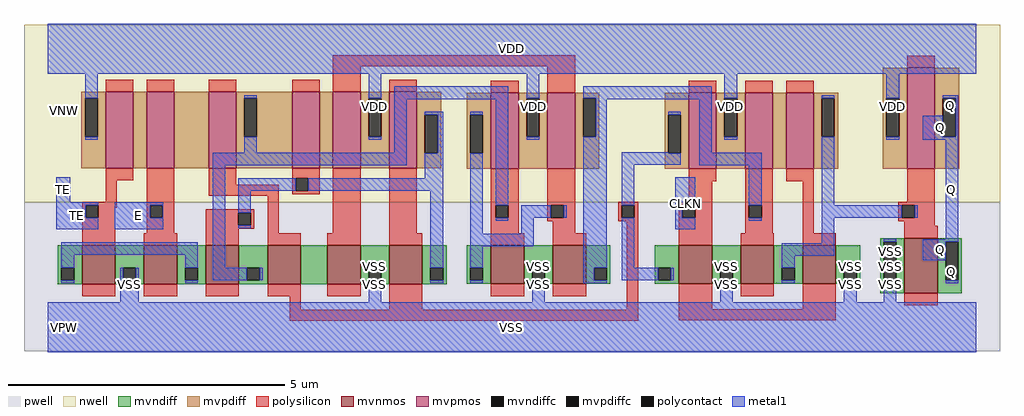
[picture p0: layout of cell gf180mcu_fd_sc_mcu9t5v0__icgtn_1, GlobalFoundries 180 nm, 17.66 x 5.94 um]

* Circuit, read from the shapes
.subckt gf180mcu_fd_sc_mcu9t5v0__icgtn_1 CLKN E TE Q VDD VNW VPW VSS
XM1 VSS TE n1 VPW nfet_06v0 w=0.7u l=0.6u
XM2 n1 E VSS VPW nfet_06v0 w=0.7u l=0.6u
XM3 n2 n3 n1 VPW nfet_06v0 w=0.7u l=0.6u
XM4 n4 n5 n2 VPW nfet_06v0 w=0.7u l=0.6u
XM5 VSS n6 n4 VPW nfet_06v0 w=0.7u l=0.6u
XM6 n3 n5 VSS VPW nfet_06v0 w=0.7u l=0.6u
XM7 VSS n2 n6 VPW nfet_06v0 w=0.7u l=0.6u
XM8 n7 n6 VSS VPW nfet_06v0 w=0.7u l=0.6u
XM9 VSS CLKN n5 VPW nfet_06v0 w=0.7u l=0.6u
XM10 n8 n7 VSS VPW nfet_06v0 w=0.7u l=0.6u
XM11 VSS CLKN n8 VPW nfet_06v0 w=0.7u l=0.6u
XM12 Q n8 VSS VPW nfet_06v0 w=1u l=0.6u
XM13 n9 TE VDD VNW pfet_06v0 w=1.38u l=0.5u
XM14 n10 E n9 VNW pfet_06v0 w=1.38u l=0.5u
XM15 n2 n5 n10 VNW pfet_06v0 w=1.38u l=0.5u
XM16 n11 n3 n2 VNW pfet_06v0 w=1.38u l=0.5u
XM17 VDD n6 n11 VNW pfet_06v0 w=1.38u l=0.5u
XM18 n3 n5 VDD VNW pfet_06v0 w=1.38u l=0.5u
XM19 VDD n2 n6 VNW pfet_06v0 w=1.38u l=0.5u
XM20 n7 n6 VDD VNW pfet_06v0 w=1.38u l=0.5u
XM21 VDD CLKN n5 VNW pfet_06v0 w=1.38u l=0.5u
XM22 n12 n7 VDD VNW pfet_06v0 w=1.38u l=0.5u
XM23 n8 CLKN n12 VNW pfet_06v0 w=1.38u l=0.5u
XM24 Q n8 VDD VNW pfet_06v0 w=1.83u l=0.5u
.ends

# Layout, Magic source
magic
tech gf180mcuD
magscale 1 10
<< nwell >>
rect -86 453 3446 1094
<< pwell >>
rect -86 -86 3446 453
<< mvnmos >>
rect 124 156 244 296
rect 348 156 468 296
rect 572 156 692 296
rect 796 156 916 296
rect 1012 156 1132 296
rect 1236 156 1356 296
rect 1604 157 1724 297
rect 1828 157 1948 297
rect 2284 157 2404 297
rect 2508 157 2628 297
rect 2732 157 2852 297
rect 3100 123 3220 323
<< mvpmos >>
rect 210 576 310 852
rect 358 576 458 852
rect 582 576 682 852
rect 884 576 984 852
rect 1032 576 1132 852
rect 1236 576 1336 852
rect 1604 573 1704 849
rect 1808 573 1908 849
rect 2320 573 2420 849
rect 2524 573 2624 849
rect 2672 573 2772 849
rect 3110 573 3210 939
<< mvndiff >>
rect 36 216 124 296
rect 36 170 49 216
rect 95 170 124 216
rect 36 156 124 170
rect 244 216 348 296
rect 244 170 273 216
rect 319 170 348 216
rect 244 156 348 170
rect 468 216 572 296
rect 468 170 497 216
rect 543 170 572 216
rect 468 156 572 170
rect 692 216 796 296
rect 692 170 721 216
rect 767 170 796 216
rect 692 156 796 170
rect 916 156 1012 296
rect 1132 216 1236 296
rect 1132 170 1161 216
rect 1207 170 1236 216
rect 1132 156 1236 170
rect 1356 216 1444 296
rect 1356 170 1385 216
rect 1431 170 1444 216
rect 1356 156 1444 170
rect 1516 216 1604 297
rect 1516 170 1529 216
rect 1575 170 1604 216
rect 1516 157 1604 170
rect 1724 216 1828 297
rect 1724 170 1753 216
rect 1799 170 1828 216
rect 1724 157 1828 170
rect 1948 216 2036 297
rect 1948 170 1977 216
rect 2023 170 2036 216
rect 1948 157 2036 170
rect 3012 310 3100 323
rect 2196 216 2284 297
rect 2196 170 2209 216
rect 2255 170 2284 216
rect 2196 157 2284 170
rect 2404 216 2508 297
rect 2404 170 2433 216
rect 2479 170 2508 216
rect 2404 157 2508 170
rect 2628 216 2732 297
rect 2628 170 2657 216
rect 2703 170 2732 216
rect 2628 157 2732 170
rect 2852 216 2940 297
rect 2852 170 2881 216
rect 2927 170 2940 216
rect 2852 157 2940 170
rect 3012 170 3025 310
rect 3071 170 3100 310
rect 3012 123 3100 170
rect 3220 310 3308 323
rect 3220 170 3249 310
rect 3295 170 3308 310
rect 3220 123 3308 170
<< mvpdiff >>
rect 122 829 210 852
rect 122 689 135 829
rect 181 689 210 829
rect 122 576 210 689
rect 310 576 358 852
rect 458 576 582 852
rect 682 829 884 852
rect 682 689 711 829
rect 757 689 884 829
rect 682 576 884 689
rect 984 576 1032 852
rect 1132 829 1236 852
rect 1132 689 1161 829
rect 1207 689 1236 829
rect 1132 576 1236 689
rect 1336 769 1424 852
rect 1336 629 1365 769
rect 1411 629 1424 769
rect 1336 576 1424 629
rect 1516 769 1604 849
rect 1516 629 1529 769
rect 1575 629 1604 769
rect 1516 573 1604 629
rect 1704 829 1808 849
rect 1704 689 1733 829
rect 1779 689 1808 829
rect 1704 573 1808 689
rect 1908 829 1996 849
rect 1908 689 1937 829
rect 1983 689 1996 829
rect 1908 573 1996 689
rect 2232 769 2320 849
rect 2232 629 2245 769
rect 2291 629 2320 769
rect 2232 573 2320 629
rect 2420 829 2524 849
rect 2420 689 2449 829
rect 2495 689 2524 829
rect 2420 573 2524 689
rect 2624 573 2672 849
rect 2772 829 2860 849
rect 2772 689 2801 829
rect 2847 689 2860 829
rect 2772 573 2860 689
rect 3022 829 3110 939
rect 3022 689 3035 829
rect 3081 689 3110 829
rect 3022 573 3110 689
rect 3210 829 3298 939
rect 3210 689 3239 829
rect 3285 689 3298 829
rect 3210 573 3298 689
<< mvndiffc >>
rect 49 170 95 216
rect 273 170 319 216
rect 497 170 543 216
rect 721 170 767 216
rect 1161 170 1207 216
rect 1385 170 1431 216
rect 1529 170 1575 216
rect 1753 170 1799 216
rect 1977 170 2023 216
rect 2209 170 2255 216
rect 2433 170 2479 216
rect 2657 170 2703 216
rect 2881 170 2927 216
rect 3025 170 3071 310
rect 3249 170 3295 310
<< mvpdiffc >>
rect 135 689 181 829
rect 711 689 757 829
rect 1161 689 1207 829
rect 1365 629 1411 769
rect 1529 629 1575 769
rect 1733 689 1779 829
rect 1937 689 1983 829
rect 2245 629 2291 769
rect 2449 689 2495 829
rect 2801 689 2847 829
rect 3035 689 3081 829
rect 3239 689 3285 829
<< polysilicon >>
rect 1032 944 1908 984
rect 210 852 310 896
rect 358 852 458 896
rect 582 852 682 896
rect 884 852 984 896
rect 1032 852 1132 944
rect 1236 852 1336 896
rect 1604 849 1704 893
rect 1808 849 1908 944
rect 3110 939 3210 983
rect 2320 849 2420 893
rect 2524 849 2624 893
rect 2672 849 2772 893
rect 210 532 310 576
rect 210 455 250 532
rect 124 442 250 455
rect 124 396 137 442
rect 183 433 250 442
rect 358 442 458 576
rect 582 516 682 576
rect 884 540 984 576
rect 582 476 836 516
rect 884 494 897 540
rect 943 494 984 540
rect 884 481 984 494
rect 183 396 244 433
rect 124 296 244 396
rect 358 396 371 442
rect 417 396 458 442
rect 358 340 458 396
rect 572 415 748 428
rect 572 369 689 415
rect 735 369 748 415
rect 572 356 748 369
rect 348 296 468 340
rect 572 296 692 356
rect 796 340 836 476
rect 1032 340 1132 576
rect 796 296 916 340
rect 1012 296 1132 340
rect 1236 340 1336 576
rect 1604 442 1704 573
rect 1604 396 1621 442
rect 1667 396 1704 442
rect 1604 341 1704 396
rect 1808 442 1908 573
rect 2320 529 2420 573
rect 2320 455 2404 529
rect 1808 396 1821 442
rect 1867 396 1908 442
rect 1808 383 1908 396
rect 2064 442 2136 455
rect 2064 396 2077 442
rect 2123 396 2136 442
rect 2064 383 2136 396
rect 1828 341 1908 383
rect 1236 296 1356 340
rect 1604 297 1724 341
rect 1828 297 1948 341
rect 124 112 244 156
rect 348 112 468 156
rect 572 112 692 156
rect 796 112 916 156
rect 1012 112 1132 156
rect 876 64 916 112
rect 1236 64 1356 156
rect 1604 113 1724 157
rect 1828 113 1948 157
rect 2096 64 2136 383
rect 2284 442 2404 455
rect 2284 396 2297 442
rect 2343 396 2404 442
rect 2284 297 2404 396
rect 2524 442 2624 573
rect 2672 529 2772 573
rect 2524 396 2537 442
rect 2583 396 2624 442
rect 2524 341 2624 396
rect 2732 341 2772 529
rect 3110 455 3210 573
rect 3078 442 3210 455
rect 3078 396 3091 442
rect 3137 396 3210 442
rect 3078 383 3210 396
rect 3100 367 3210 383
rect 2508 297 2628 341
rect 2732 297 2852 341
rect 3100 323 3220 367
rect 876 24 2136 64
rect 2284 65 2404 157
rect 2508 113 2628 157
rect 2732 65 2852 157
rect 3100 79 3220 123
rect 2284 25 2852 65
<< polycontact >>
rect 137 396 183 442
rect 897 494 943 540
rect 371 396 417 442
rect 689 369 735 415
rect 1621 396 1667 442
rect 1821 396 1867 442
rect 2077 396 2123 442
rect 2297 396 2343 442
rect 2537 396 2583 442
rect 3091 396 3137 442
<< metal1 >>
rect 0 918 3360 1098
rect 135 829 181 918
rect 135 678 181 689
rect 711 829 757 840
rect 711 632 757 689
rect 1161 829 1207 918
rect 1161 678 1207 689
rect 1253 826 1667 872
rect 1253 632 1299 826
rect 597 586 1299 632
rect 1365 769 1431 780
rect 1411 629 1431 769
rect 30 453 82 542
rect 30 442 183 453
rect 30 396 137 442
rect 30 354 183 396
rect 242 442 418 453
rect 242 396 371 442
rect 417 396 418 442
rect 242 354 418 396
rect 49 262 543 308
rect 49 216 95 262
rect 497 216 543 262
rect 49 159 95 170
rect 262 170 273 216
rect 319 170 330 216
rect 262 90 330 170
rect 597 216 643 586
rect 1365 540 1431 629
rect 689 494 897 540
rect 943 494 1431 540
rect 689 415 735 494
rect 689 358 735 369
rect 1161 216 1207 227
rect 597 170 721 216
rect 767 170 778 216
rect 497 159 543 170
rect 1161 90 1207 170
rect 1385 216 1431 494
rect 1385 159 1431 170
rect 1529 769 1575 780
rect 1529 339 1575 629
rect 1621 442 1667 826
rect 1733 829 1779 918
rect 1733 678 1779 689
rect 1937 829 2403 872
rect 1983 826 2403 829
rect 1983 689 2023 826
rect 1621 385 1667 396
rect 1713 396 1821 442
rect 1867 396 1878 442
rect 1713 339 1759 396
rect 1529 293 1759 339
rect 1529 216 1575 293
rect 1529 159 1575 170
rect 1753 216 1799 227
rect 1753 90 1799 170
rect 1937 216 2023 689
rect 2245 769 2291 780
rect 1937 170 1977 216
rect 2077 629 2245 634
rect 2077 588 2291 629
rect 2357 632 2403 826
rect 2449 829 2495 918
rect 2449 678 2495 689
rect 2801 829 2847 840
rect 2077 442 2123 588
rect 2357 586 2583 632
rect 2077 216 2123 396
rect 2270 442 2343 542
rect 2270 396 2297 442
rect 2270 354 2343 396
rect 2537 442 2583 586
rect 2537 385 2583 396
rect 2801 442 2847 689
rect 3035 829 3081 918
rect 3239 829 3295 840
rect 3035 678 3081 689
rect 3166 689 3239 766
rect 3285 689 3295 829
rect 3166 678 3295 689
rect 2801 396 3091 442
rect 3137 396 3148 442
rect 2801 304 2847 396
rect 2657 258 2847 304
rect 3025 310 3071 321
rect 3249 318 3295 678
rect 2433 216 2479 227
rect 2077 170 2209 216
rect 2255 170 2266 216
rect 1937 159 2023 170
rect 2433 90 2479 170
rect 2657 216 2703 258
rect 2657 159 2703 170
rect 2881 216 2927 227
rect 2881 90 2927 170
rect 3166 310 3295 318
rect 3166 242 3249 310
rect 3025 90 3071 170
rect 3249 159 3295 170
rect 0 -90 3360 90
<< labels >>
flabel metal1 s 2270 354 2343 542 0 FreeSans 200 0 0 0 CLKN
port 1 nsew clock input
flabel metal1 s 242 354 418 453 0 FreeSans 200 0 0 0 E
port 2 nsew default input
flabel metal1 s 3239 766 3295 840 0 FreeSans 200 0 0 0 Q
port 4 nsew default output
flabel metal1 s 30 453 82 542 0 FreeSans 200 0 0 0 TE
port 3 nsew default input
flabel metal1 s 0 918 3360 1098 0 FreeSans 200 0 0 0 VDD
port 5 nsew power bidirectional abutment
flabel metal1 s 3025 227 3071 321 0 FreeSans 200 0 0 0 VSS
port 8 nsew ground bidirectional abutment
flabel nwell s 10 734 110 834 0 FreeSans 400 0 0 0 VNW
port 6 nsew power bidirectional
flabel pwell s 10 -50 110 50 0 FreeSans 400 0 0 0 VPW
port 7 nsew ground bidirectional
rlabel metal1 s 30 354 183 453 1 TE
port 3 nsew default input
rlabel metal1 s 3166 678 3295 766 1 Q
port 4 nsew default output
rlabel metal1 s 3249 318 3295 678 1 Q
port 4 nsew default output
rlabel metal1 s 3166 242 3295 318 1 Q
port 4 nsew default output
rlabel metal1 s 3249 159 3295 242 1 Q
port 4 nsew default output
rlabel metal1 s 3035 678 3081 918 1 VDD
port 5 nsew power bidirectional abutment
rlabel metal1 s 2449 678 2495 918 1 VDD
port 5 nsew power bidirectional abutment
rlabel metal1 s 1733 678 1779 918 1 VDD
port 5 nsew power bidirectional abutment
rlabel metal1 s 1161 678 1207 918 1 VDD
port 5 nsew power bidirectional abutment
rlabel metal1 s 135 678 181 918 1 VDD
port 5 nsew power bidirectional abutment
rlabel metal1 s 3025 216 3071 227 1 VSS
port 8 nsew ground bidirectional abutment
rlabel metal1 s 2881 216 2927 227 1 VSS
port 8 nsew ground bidirectional abutment
rlabel metal1 s 2433 216 2479 227 1 VSS
port 8 nsew ground bidirectional abutment
rlabel metal1 s 1753 216 1799 227 1 VSS
port 8 nsew ground bidirectional abutment
rlabel metal1 s 1161 216 1207 227 1 VSS
port 8 nsew ground bidirectional abutment
rlabel metal1 s 3025 90 3071 216 1 VSS
port 8 nsew ground bidirectional abutment
rlabel metal1 s 2881 90 2927 216 1 VSS
port 8 nsew ground bidirectional abutment
rlabel metal1 s 2433 90 2479 216 1 VSS
port 8 nsew ground bidirectional abutment
rlabel metal1 s 1753 90 1799 216 1 VSS
port 8 nsew ground bidirectional abutment
rlabel metal1 s 1161 90 1207 216 1 VSS
port 8 nsew ground bidirectional abutment
rlabel metal1 s 262 90 330 216 1 VSS
port 8 nsew ground bidirectional abutment
rlabel metal1 s 0 -90 3360 90 1 VSS
port 8 nsew ground bidirectional abutment
<< properties >>
string FIXED_BBOX 0 0 3360 1008
string GDS_END 827424
string GDS_FILE $PDKPATH/libs.ref/gf180mcu_fd_sc_mcu9t5v0/gds/gf180mcu_fd_sc_mcu9t5v0.gds
string GDS_START 819500
string LEFclass core
string LEFsite GF018hv5v_green_sc9
string LEFsymmetry X Y
<< end >>
